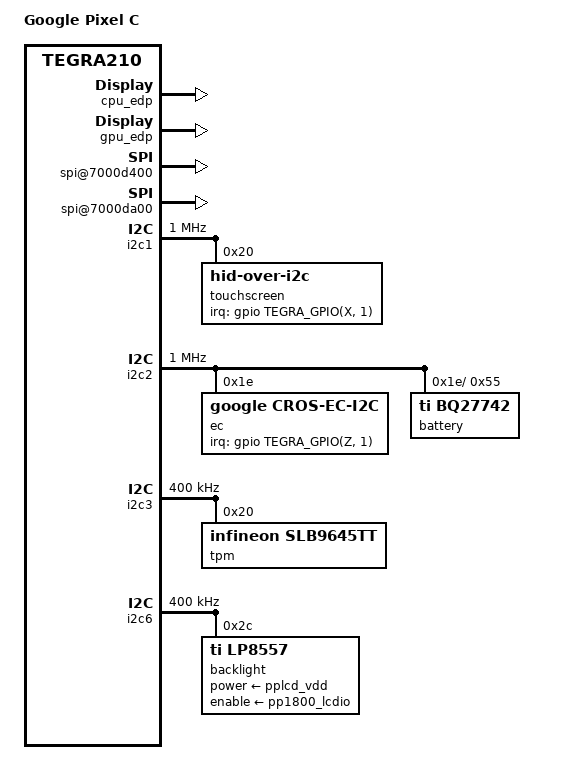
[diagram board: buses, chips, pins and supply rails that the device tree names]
/*
 * arch/arm64/boot/dts/tegra210-smaug.dts
 *
 * Copyright (c) 2014-2016, NVIDIA CORPORATION.  All rights reserved.
 *
 * This program is free software; you can redistribute it and/or modify
 * it under the terms of the GNU General Public License as published by
 * the Free Software Foundation; version 2 of the License.
 *
 * This program is distributed in the hope that it will be useful, but WITHOUT
 * ANY WARRANTY; without even the implied warranty of MERCHANTABILITY or
 * FITNESS FOR A PARTICULAR PURPOSE.  See the GNU General Public License for
 * more details.
 *
 */

#include "tegra210-smaug-common.dtsi"
#include "tegra210-smaug-common-disp.dtsi"
#include "smaug-platforms/tegra210-smaug-power-tree.dtsi"
#include "smaug-platforms/tegra210-smaug-emc.dtsi"
#include "smaug-platforms/tegra210-smaug-pinmux.dtsi"
#include "smaug-platforms/tegra210-smaug-keys.dtsi"
#include "smaug-platforms/tegra210-smaug-thermal-nct72.dtsi"

/ {

	model = "Google Pixel C";
	compatible = "google,smaug-rev8", "google,smaug-rev7",
		     "google,smaug-rev6", "google,smaug-rev5",
		     "google,smaug-rev4", "google,smaug-rev3",
		     "google,smaug-rev2", "google,smaug-rev1",
		     "google,smaug", "nvidia,tegra210";

	nvidia,dtsfilename = __FILE__;
	nvidia,boardids = "2595:0000:A0";
	nvidia,proc-boardid = "2595:0000:A0";
	nvidia,pmu-boardid = "2595:0000:A0";

	#address-cells = <2>;
	#size-cells = <2>;

	serial-number = "1234";

	chosen {
		bootargs = "cros_legacy init=/init rw vmalloc=256M tegra_fbmem=0x800000@0x969ee000 vpr_resize fbcon debug console=ttyS0,115200n8 earlyprintk pstore.compress=lz4 lp0_vec=2672@0xf9aff000 tsec=32M@4064M video=tegrafb no_console_suspend=1 otf_key=914e3cd033c06c6370b630bb6ec9dd4e firmware_class.path=/lib/firmware";
		nvidia,bluetooth-mac = "11:22:33:44:55:66";
		nvidia,wifi-mac = "00:90:4c:11:22:33";
	};

	firmware {
		android {
			compatible = "android,firmware";
			hardware = "smaug";
		};
	};

	gpu {
		status = "okay";
	};

	tlk {
		status = "okay";
	};

	cpu_edp {
		status = "okay";
	};

	gpu_edp {
		status = "okay";
	};

	cpus {
		idle-states {
			entry-method = "psci";

			c7 {
				arm,psci-suspend-param = <0x00010007>;
			};

			/delete-node/ cc6;
		};
	};

	spi@7000d400 {
		status = "okay";
/*		spi@0 {
			compatible = "spidev";
			reg = <0>;
			spi-max-frequency = <13000000>;
		};*/
	};
	spi@7000da00 {
		status = "okay";
/*		spi@0 {
			compatible = "spidev";
			reg = <0>;
			spi-max-frequency = <13000000>;
		};*/
	};

	i2c1: i2c@7000c000 {
		status = "okay";
		clock-frequency = <1000000>;

		touchscreen: i2c-hid-dev@20 {
				compatible = "hid-over-i2c";
				reg = <0x20>;
				status = "okay";
				hid-descr-addr = <0x0020>;
				interrupt-parent = <&gpio>;
				interrupts = <TEGRA_GPIO(X, 1) IRQ_TYPE_EDGE_FALLING>;
		};
	};

	i2c2: i2c@7000c400 {
		status = "okay";
		clock-frequency = <1000000>;

		ec@1e {
			compatible = "google,cros-ec-i2c";
			reg = <0x1e>;
			interrupt-parent = <&gpio>;
			interrupts = <TEGRA_GPIO(Z, 1) IRQ_TYPE_LEVEL_LOW>;
			wakeup-source;

			ec_i2c_0: i2c-tunnel {
				compatible = "google,cros-ec-i2c-tunnel";
				#address-cells = <1>;
				#size-cells = <0>;

				google,remote-bus = <0>;

				battery: bq27742@55 {
					compatible = "ti,bq27742";
					reg = <0x55>;
					battery-name = "battery";
				};
			};

			usbc_extcon: extcon {
				compatible = "google,extcon-usbc-cros-ec";
				google,usb-port-id = <0>;

				#extcon-cells = <0>;
			};
		};
	};

	i2c3: i2c@7000c500 {
		status = "okay";
		clock-frequency = <400000>;
		tpm@20 {
			compatible = "infineon,slb9645tt";
			reg = <0x20>;
			powered-while-suspended;
			status = "okay";
		};
	};

	i2c6: i2c@7000d100 {
		status = "okay";
		clock-frequency = <400000>;

		backlight: lp8557-backlight@2c {
				status = "okay";
				compatible = "ti,lp8557";
				reg = <0x2c>;
				power-supply = <&pplcd_vdd>;
				enable-supply = <&pp1800_lcdio>;
				bl-name = "lp8557-backlight";
				dev-ctrl = /bits/ 8 <0x01>;
				init-brt = /bits/ 8 <0xFF>;
				/* Full scale current, 20mA */
				rom_11h {
						rom-addr = /bits/ 8 <0x11>;
						rom-val = /bits/ 8 <0x05>;
				};
				/* Frequency = 4.9kHz, magic undocumented val */
				rom_12h {
						rom-addr = /bits/ 8 <0x12>;
						rom-val = /bits/ 8 <0x29>;
				};
				/* Boost freq = 1MHz, BComp option = 1 */
				rom_13h {
						rom-addr = /bits/ 8 <0x13>;
						rom-val = /bits/ 8 <0x03>;
				};
				/* 4V OV, 6 output LED string enabled */
				rom_14h {
						rom-addr = /bits/ 8 <0x14>;
						rom-val = /bits/ 8 <0xbf>;
				};
		};
	};

	sound {
		status = "disabled";
	};

	sound_ref {
		status = "disabled";
	};

	pwm@7000a000 {
		status = "disabled";
	};

};
